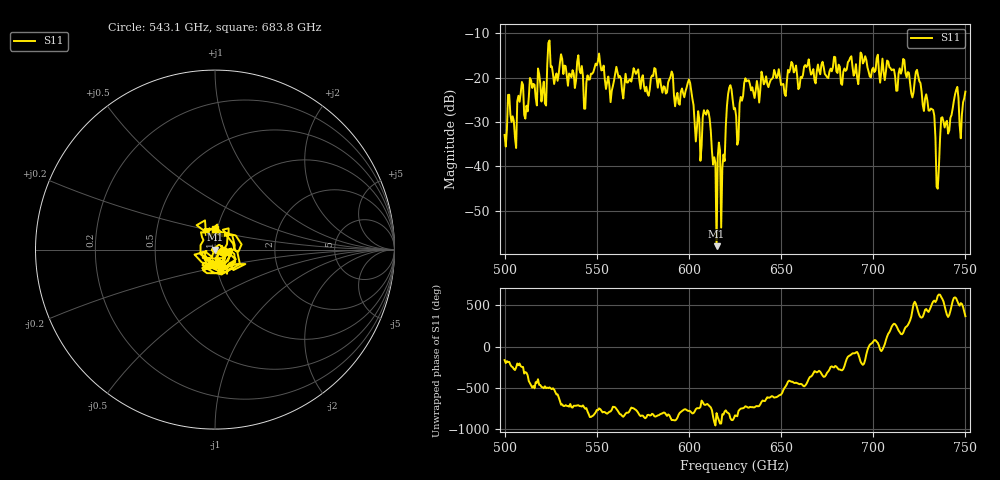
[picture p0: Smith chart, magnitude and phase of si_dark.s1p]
!Created with skrf (http://scikit-rf.org).
# GHz S MA R 50.0
!freq magS11 angS11
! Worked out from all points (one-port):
!   401 points, 500 GHz to 750 GHz, reference 50 ohm
!   lowest |S11| = -58.0 dB at 615 GHz (marker M1), VSWR 1.00, Z = 50 - j0.125 ohm
!   |S11| at or under -10 dB: start of sweep to end of sweep
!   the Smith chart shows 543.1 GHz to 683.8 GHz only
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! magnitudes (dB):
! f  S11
! 500 GHz  -32.9
! 508.8 GHz  -23.5
! 511.9 GHz  -26.3
! 515 GHz  -22.3
! 521.2 GHz  -20.9
! 524.4 GHz  -11.6
! 531.2 GHz  -15.8
! 544.4 GHz  -21.0
! 550.6 GHz  -16.3
! 562.5 GHz  -19.6
! 590 GHz  -19.8
! 593.8 GHz  -23.4
! 600 GHz  -20.4
! 605.6 GHz  -29.3
! 610 GHz  -27.3
! 615 GHz  -58.0
! 618.8 GHz  -37.3
! 621.9 GHz  -22.3
! 625 GHz  -26.9
! 631.2 GHz  -20.8
! 651.2 GHz  -21.4
! 656.2 GHz  -16.9
! 687.5 GHz  -15.5
! 718.8 GHz  -18.7
! 731.9 GHz  -27.1
! 735 GHz  -45.1
! 738.1 GHz  -29.9
! 750 GHz  -23.2
